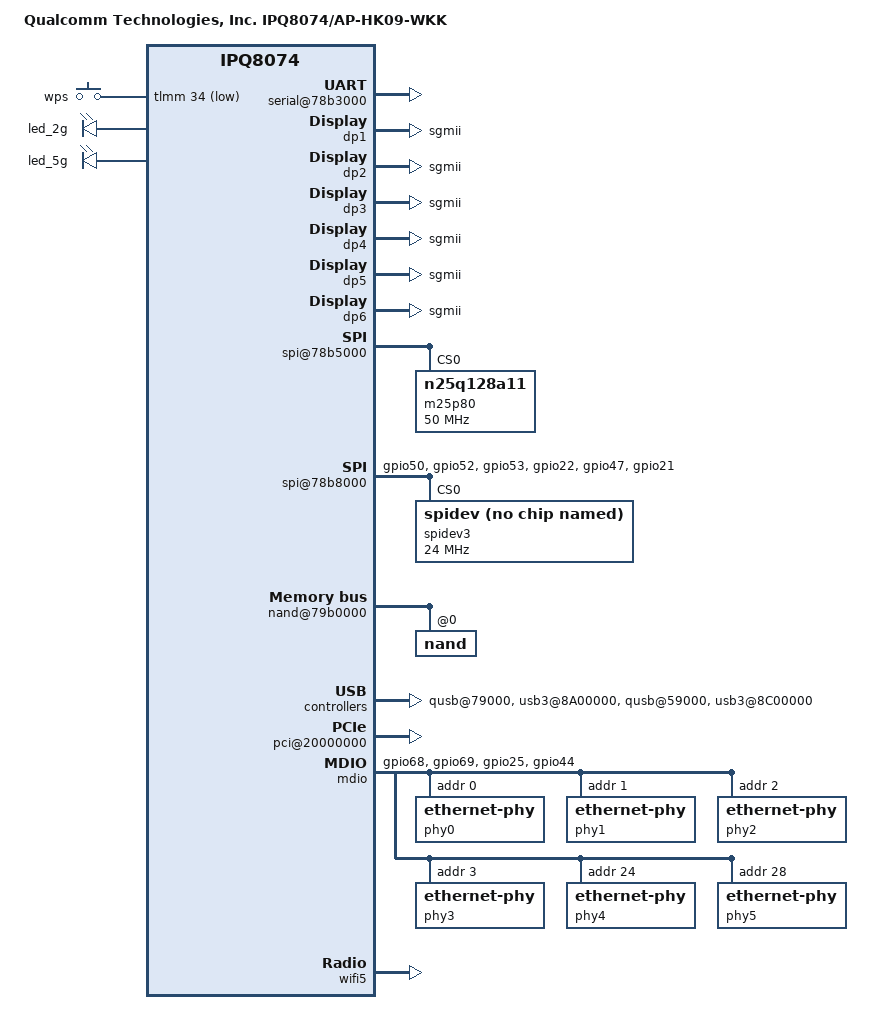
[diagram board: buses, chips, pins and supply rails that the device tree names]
// SPDX-License-Identifier: GPL-2.0-only
/dts-v1/;
/* Copyright (c) 2020-2021 The Linux Foundation. All rights reserved.
 */
#include "ipq8074.dtsi"
#include "ipq8074-hk-cpu.dtsi"

/ {
	#address-cells = <0x2>;
	#size-cells = <0x2>;
	model = "Qualcomm Technologies, Inc. IPQ8074/AP-HK09-WKK";
	compatible = "qcom,ipq8074-ap-hk09-wkk", "qcom,ipq8074-ap-hk09", "qcom,ipq8074";
	qcom,msm-id = <0x157 0x0>, <0x187 0x0>;
	interrupt-parent = <&intc>;

	aliases {
		serial0 = &blsp1_uart5;
		/* Aliases as required by u-boot to patch MAC addresses */
		ethernet0 = "/soc/dp1";
		ethernet1 = "/soc/dp2";
		ethernet2 = "/soc/dp3";
		ethernet3 = "/soc/dp4";
		ethernet4 = "/soc/dp5";
		ethernet5 = "/soc/dp6";
	};

	chosen {
		stdout-path = "serial0";
	};

	reserved-memory {
/* No Pci attach in 256M profile */
#if !defined(__IPQ_MEM_PROFILE_256_MB__)
#ifdef __IPQ_MEM_PROFILE_512_MB__
	/*                      512 MB Profile
	 * +========+==============+=========================+
	 * | Region | Start Offset |          Size           |
	 * +--------+--------------+-------------------------+
	 * |  NSS   |  0x40000000  |          16MB           |
	 * +--------+--------------+-------------------------+
	 * |        |              |                         |
	 * | Linux  |  0x41000000  | Depends on total memory |
	 * |        |              |                         |
	 * +--------+--------------+-------------------------+
	 * | TZ APP |  0x4A400000  |           1MB           |
	 * +--------+--------------+-------------------------+
	 * | uboot  |  0x4A600000  |           4MB           |
	 * +--------+--------------+-------------------------+
	 * |  SBL   |  0x4AA00000  |           1MB           |
	 * +--------+--------------+-------------------------+
	 * |  smem  |  0x4AB00000  |           1MB           |
	 * +--------+--------------+-------------------------+
	 * |   TZ   |  0x4AC00000  |           4MB           |
	 * +--------+--------------+-------------------------+
	 * |   Q6   |  0x4B000000  |          55MB           |
	 * +--------+--------------+-------------------------+
	 * |  QDSS  |  0x4E700000  |           1MB           |
	 * +--------+--------------+-------------------------+
	 * | M3 Dump|  0x4E800000  |           1MB           |
	 * +--------+--------------+-------------------------+
	 * |  Wkk   |  0x4E900000  |          30MB           |
	 * +--------+--------------+-------------------------+
	 * |  MHI0  |  0x50700000  |          18MB           |
	 * +--------+--------------+-------------------------+
	 * |  MLO   |  0x51900000  |           16MB          |
	 * +--------+--------------+-------------------------+
	 * |                                                 |
	 * |      Rest of the memory for Linux               |
	 * |                                                 |
	 * +=================================================+
	 */
		/delete-node/ wifi_dump@4e900000;
		qcn9224_pcie0: qcn9224_pcie0@4e900000 {
			no-map;
			reg = <0x0 0x4e900000 0x0 0x01e00000>;
		};

		mhi_region0: dma_pool0@50700000 {
			compatible = "shared-dma-pool";
			no-map;
			reg = <0x0 0x50700000 0x0 0x01200000>;
		};
		mlo_global_mem: mlo_global_mem0@51900000 {
			no-map;
			reg = <0x0 0x51900000 0x0 0x1000000>;
		};
#else
	/*                   Default Profile
	 * +========+==============+=========================+
	 * | Region | Start Offset |          Size           |
	 * +--------+--------------+-------------------------+
	 * |  NSS   |  0x40000000  |          16MB           |
	 * +--------+--------------+-------------------------+
	 * | Linux  |  0x41000000  | Depends on total memory |
	 * +--------+--------------+-------------------------+
	 * | TZ APP |  0x4A400000  |           2MB           |
	 * +--------+--------------+-------------------------+
	 * | uboot  |  0x4A600000  |           4MB           |
	 * +--------+--------------+-------------------------+
	 * |  SBL   |  0x4AA00000  |           1MB           |
	 * +--------+--------------+-------------------------+
	 * |  smem  |  0x4AB00000  |           1MB           |
	 * +--------+--------------+-------------------------+
	 * |   TZ   |  0x4AC00000  |           4MB           |
	 * +--------+--------------+-------------------------+
	 * |   Q6   |  0x4B000000  |          95MB           |
	 * +--------+--------------+-------------------------+
	 * |  QDSS  |  0x50F00000  |           1MB           |
	 * +--------+--------------+-------------------------+
	 * | M3 Dump|  0x51000000  |           1MB           |
	 * +--------+--------------+-------------------------+
	 * |  Wkk   |  0x51100000  |          58MB           |
	 * +--------+--------------+-------------------------+
	 * |  MHI0  |  0x54B00000  |          26MB           |
	 * +--------+--------------+-------------------------+
	 * |  MLO   |   Dynamic    |          17MB           |
	 * +--------+--------------+-------------------------+
	 * |                                                 |
	 * |          Rest of the memory for Linux           |
	 * |                                                 |
	 * +=================================================+
	 */
		qcn9224_pcie0: qcn9224_pcie0@51100000 {
			no-map;
			reg = <0x0 0x51100000 0x0 0x03A00000>;
		};

		mhi_region0: dma_pool0@54b00000 {
			compatible = "shared-dma-pool";
			no-map;
			reg = <0x0 0x54B00000 0x0 0x01A00000>;
		};
		mlo_global_mem0: mlo_global_mem_0@0 {
			no-map;
			size = <0x0 0x1100000>;
		};
#endif
#endif
	};

	soc {
		pinctrl@1000000 {
			button_pins: button_pins {
				wps_button {
					pins = "gpio34";
					function = "gpio";
					drive-strength = <8>;
					bias-pull-up;
				};
			};

			usb_mux_sel_pins: usb_mux_pins {
				mux {
					pins = "gpio27";
					function = "gpio";
					drive-strength = <8>;
					bias-pull-down;
				};
			};

			pcie0_pins: pcie_pins {
				pcie0_wake {
					pins = "gpio59";
					function = "pcie0_wake";
					drive-strength = <8>;
					bias-pull-down;
				};
			};

			mdio_pins: mdio_pinmux {
				mux_0 {
					pins = "gpio68";
					function = "mdc";
					drive-strength = <8>;
					bias-pull-up;
				};
				mux_1 {
					pins = "gpio69";
					function = "mdio";
					drive-strength = <8>;
					bias-pull-up;
				};
				mux_2 {
					pins = "gpio25";
					function = "gpio";
					bias-pull-up;
				};
				mux_3 {
					pins = "gpio44";
					function = "gpio";
					bias-pull-up;
				};
			};

			led_pins: led_pins {
				led_2g {
					pins = "gpio42";
					function = "gpio";
					drive-strength = <8>;
					bias-pull-down;
				};

				led_5g {
					pins = "gpio43";
					function = "gpio";
					drive-strength = <8>;
					bias-pull-down;
				};
			};

			spi_3_pins: spi_3_pins {
				mux {
					pins = "gpio50", "gpio52", "gpio53";
					function = "blsp3_spi";
					drive-strength = <8>;
					bias-disable;
				};
				spi_cs {
					pins = "gpio22";
					function = "blsp3_spi2";
					drive-strength = <8>;
					bias-disable;
				};
				quartz_interrupt {
					pins = "gpio47";
					function = "gpio";
					input;
					bias-disable;
				};
				quartz_reset {
					pins = "gpio21";
					function = "gpio";
					output-low;
					bias-disable;
				};
			};
		};

		qcom,test@0 {
			skip-pci-sw-reset;
			qcom,wlan-ramdump-dynamic = <0x600000>;
			status = "ok";
		};

		serial@78b3000 {
			status = "ok";
		};

		dp1 {
			device_type = "network";
			compatible = "qcom,nss-dp";
			qcom,id = <1>;
			reg = <0x3a001000 0x200>;
			qcom,mactype = <0>;
			local-mac-address = [000000000000];
			qcom,link-poll = <1>;
			qcom,phy-mdio-addr = <0>;
			phy-mode = "sgmii";
		};

		dp2 {
			device_type = "network";
			compatible = "qcom,nss-dp";
			qcom,id = <2>;
			reg = <0x3a001200 0x200>;
			qcom,mactype = <0>;
			local-mac-address = [000000000000];
			qcom,link-poll = <1>;
			qcom,phy-mdio-addr = <1>;
			phy-mode = "sgmii";
		};

		dp3 {
			device_type = "network";
			compatible = "qcom,nss-dp";
			qcom,id = <3>;
			reg = <0x3a001400 0x200>;
			qcom,mactype = <0>;
			local-mac-address = [000000000000];
			qcom,link-poll = <1>;
			qcom,phy-mdio-addr = <2>;
			phy-mode = "sgmii";
		};

		dp4 {
			device_type = "network";
			compatible = "qcom,nss-dp";
			qcom,id = <4>;
			reg = <0x3a001600 0x200>;
			qcom,mactype = <0>;
			local-mac-address = [000000000000];
			qcom,link-poll = <1>;
			qcom,phy-mdio-addr = <3>;
			phy-mode = "sgmii";
		};

		dp5 {
			device_type = "network";
			compatible = "qcom,nss-dp";
			qcom,id = <5>;
			reg = <0x3a001800 0x200>;
			qcom,mactype = <0>;
			local-mac-address = [000000000000];
			qcom,link-poll = <1>;
			qcom,phy-mdio-addr = <24>;
			phy-mode = "sgmii";
		};

		dp6 {
			device_type = "network";
			compatible = "qcom,nss-dp";
			qcom,id = <6>;
			reg = <0x3a001a00 0x200>;
			qcom,mactype = <0>;
			local-mac-address = [000000000000];
			qcom,link-poll = <1>;
			qcom,phy-mdio-addr = <28>;
			phy-mode = "sgmii";
		};

		spi@78b5000 {
			status = "ok";
			pinctrl-0 = <&spi_0_pins>;
			pinctrl-names = "default";
			cs-select = <0>;

			m25p80@0 {
				  compatible = "n25q128a11";
				  #address-cells = <1>;
				  #size-cells = <1>;
				  reg = <0>;
				  spi-max-frequency = <50000000>;
			};
		};

		spi@78b8000 {
			status = "ok";
			pinctrl-0 = <&spi_3_pins>;
			pinctrl-names = "default";
			cs-select = <2>;
			quartz-reset-gpio = <&tlmm 21 1>;

			spidev3: spi@3 {
				  compatible = "qti,spidev";
				  reg = <0>;
				  spi-max-frequency = <24000000>;
			};
		};

		dma@7984000 {
			 status = "ok";
		};

		nand@79b0000 {
			status = "ok";

			nand@0 {
				reg = <0>;
				#address-cells = <1>;
				#size-cells = <1>;

				nand-ecc-strength = <4>;
				nand-ecc-step-size = <512>;
				nand-bus-width = <8>;
			};
		};

		qusb@79000 {
			status = "ok";
		};

		ssphy@78000 {
			status = "ok";
		};

		usb3@8A00000 {
			status = "ok";
		};

		qusb@59000 {
			status = "ok";
		};

		ssphy@58000 {
			status = "ok";
		};

		usb3@8C00000 {
			status = "ok";
		};

		phy@84000 {
			status = "ok";
		};

		phy@86000 {
			status = "ok";
		};

		pci@20000000 {
			perst-gpio = <&tlmm 58 1>;
			link_retries_count = <400>;
			status = "ok";

			pcie0_rp {
				reg = <0 0 0 0 0>;

				qcom,mhi@0 {
					reg = <0 0 0 0 0>;
					qrtr_node_id = <0x30>;
#if !defined(__IPQ_MEM_PROFILE_256_MB__)
					memory-region = <0>,<&mhi_region0>;
#endif
				};
			};
		};

		gpio_keys {
			compatible = "gpio-keys";
			pinctrl-0 = <&button_pins>;
			pinctrl-names = "default";
			status = "ok";

			button@1 {
				label = "wps";
				linux,code = <KEY_WPS_BUTTON>;
				gpios = <&tlmm 34 GPIO_ACTIVE_LOW>;
				linux,input-type = <1>;
				debounce-interval = <60>;
			};
		};

		leds {
			compatible = "gpio-leds";
			pinctrl-0 = <&led_pins>;
			pinctrl-names = "default";

			led_2g {
				label = "led_2g";
				gpio = <&tlmm 42 GPIO_ACTIVE_HIGH>;
				default-state = "off";
			};

			led_5g {
				label = "led_5g";
				gpio = <&tlmm 43 GPIO_ACTIVE_HIGH>;
				default-state = "off";
			};
		};

		mdio: mdio@90000 {
			pinctrl-0 = <&mdio_pins>;
			pinctrl-names = "default";
			phy-reset-gpio = <&tlmm 37 0 &tlmm 25 0 &tlmm 44 0>;
			phy0: ethernet-phy@0 {
				reg = <0>;
			};
			phy1: ethernet-phy@1 {
				reg = <1>;
			};
			phy2: ethernet-phy@2 {
				reg = <2>;
			};
			phy3: ethernet-phy@3 {
				reg = <3>;
			};
			phy4: ethernet-phy@4 {
				reg = <24>;
			};
			phy5: ethernet-phy@5 {
				reg = <28>;
			};
		};

		ess-switch@3a000000 {
			switch_cpu_bmp = <0x1>;  /* cpu port bitmap */
			switch_lan_bmp = <0x3e>; /* lan port bitmap */
			switch_wan_bmp = <0x40>; /* wan port bitmap */
			switch_mac_mode = <0x0>; /* mac mode for uniphy instance0*/
			switch_mac_mode1 = <0xf>; /* mac mode for uniphy instance1*/
			switch_mac_mode2 = <0xf>; /* mac mode for uniphy instance2*/
			bm_tick_mode = <0>; /* bm tick mode */
			tm_tick_mode = <0>; /* tm tick mode */
			qcom,port_phyinfo {
				port@0 {
					port_id = <1>;
					phy_address = <0>;
				};
				port@1 {
					port_id = <2>;
					phy_address = <1>;
				};
				port@2 {
					port_id = <3>;
					phy_address = <2>;
				};
				port@3 {
					port_id = <4>;
					phy_address = <3>;
				};
				port@4 {
					port_id = <5>;
					phy_address = <24>;
					port_mac_sel = "QGMAC_PORT";
				};
				port@5 {
					port_id = <6>;
					phy_address = <28>;
					port_mac_sel = "QGMAC_PORT";
				};
			};
		};

		nss-macsec0 {
			compatible = "qcom,nss-macsec";
			phy_addr = <0x18>;
			phy_access_mode = <0>;
			mdiobus = <&mdio>;
		};
		nss-macsec1 {
			compatible = "qcom,nss-macsec";
			phy_addr = <0x1c>;
			phy_access_mode = <0>;
			mdiobus = <&mdio>;
		};
	};
};

#if !defined(__IPQ_MEM_PROFILE_256_MB__)
&wifi5 {
#ifdef __IPQ_MEM_PROFILE_512_MB__
      /* QCN9224 tgt-mem-mode=1 layout - 30MB
       * +=========+==============+=========+
       * |  Region | Start Offset |   Size  |
       * +---------+--------------+---------+
       * | HREMOTE |  0x4E900000  |   20MB  |
       * +---------+--------------+---------+
       * | M3 Dump |  0x4FD00000  |   1MB   |
       * +---------+--------------+---------+
       * |   ETR   |  0x4FE00000  |   1MB   |
       * +---------+--------------+---------+
       * |  Caldb  |  0x4FF00000  |   8MB   |
       * +==================================+
       */
	base-addr = <0x4E900000>;
	m3-dump-addr = <0x4FD00000>;
	etr-addr = <0x4FE00000>;
	caldb-addr = <0x4FF00000>;
	hremote-size = <0x1400000>;
	tgt-mem-mode = <0x1>;
#else
      /* QCN9224 tgt-mem-mode=0 layout - 58MB
       * +=========+==============+=========+
       * |  Region | Start Offset |   Size  |
       * +---------+--------------+---------+
       * | HREMOTE |  0x51100000  |   36MB  |
       * +---------+--------------+---------+
       * | M3 Dump |  0x53500000  |   1MB   |
       * +---------+--------------+---------+
       * |   ETR   |  0x53600000  |   1MB   |
       * +---------+--------------+---------+
       * |  Caldb  |  0x53700000  |   8MB   |
       * +---------+--------------+---------+
       * |Pageable |  0x53F00000  |  12MB   |
       * +==================================+
       */
	base-addr = <0x51100000>;
	m3-dump-addr = <0x53500000>;
	etr-addr = <0x53600000>;
	caldb-addr = <0x53700000>;
	pageable-addr = <0x53F00000>;
	hremote-size = <0x2400000>;
	pageable-size = <0xC00000>;
	tgt-mem-mode = <0x0>;
#endif
	caldb-size = <0x800000>;
	hremote_node = <&qcn9224_pcie0>;
	mhi_node = <&mhi_region0>;
	status = "ok";
};
#endif
